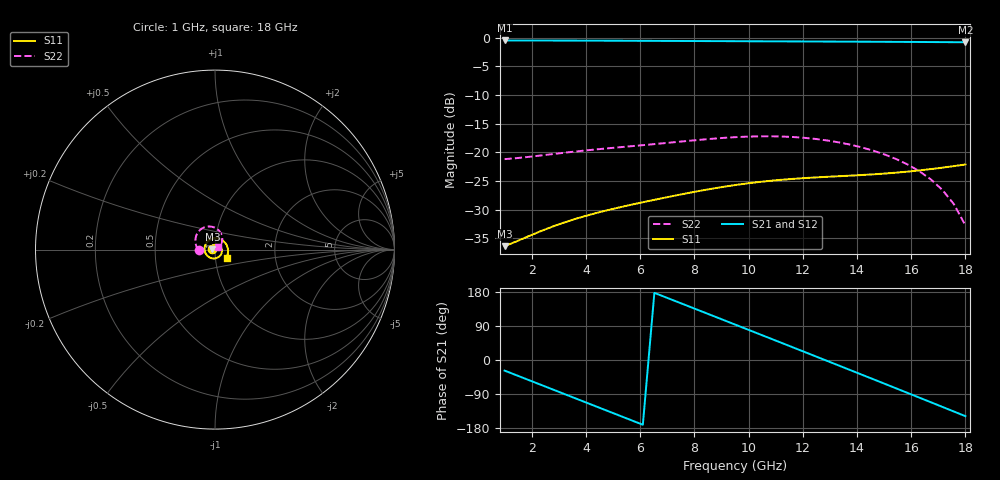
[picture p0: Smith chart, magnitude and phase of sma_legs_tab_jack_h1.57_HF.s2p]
! Generated by Hertzon (EMerge FEM)
# HZ S RI R 50.074
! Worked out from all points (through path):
!   41 points, 1 GHz to 18 GHz, reference 50.074 ohm
!   highest |S21| = -0.46 dB at 1 GHz (marker M1); lowest = -0.8 dB at 18 GHz (marker M2)
!   group delay of S21, straight-line fit = 78.4 ps
!   lowest |S11| = -36.4 dB at 1 GHz (marker M3), VSWR 1.03, Z = 48.6 + j0.264 ohm
!   |S11| at or under -10 dB: start of sweep to end of sweep
!   |S22| runs from -32.7 to -17.2 dB; largest |S21 - S12| = 0.00095
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1e9  -0.0149 0.00272  0.8377 -0.4453  0.8375 -0.4461  -0.0873 -0.000137
1.85e9  -0.0167 0.00772  0.5864 -0.745  0.5857 -0.7455  -0.0911 0.00158
2.7e9  -0.0153 0.016  0.2356 -0.9174  0.2347 -0.9176  -0.096 0.00564
3.125e9  -0.0125 0.0206  0.0413 -0.9457  0.0404 -0.9457  -0.0984 0.00858
3.975e9  -0.00171 0.0278  -0.3436 -0.8807  -0.3444 -0.8803  -0.1026 0.0159
4.825e9  0.0141 0.028  -0.6689 -0.6659  -0.6695 -0.6653  -0.1057 0.0248
5.675e9  0.0297 0.0183  -0.8795 -0.3383  -0.8798 -0.3377  -0.1077 0.0347
6.525e9  0.0385 -0.000589  -0.9396 0.0459  -0.9396 0.0466  -0.1088 0.0459
6.95e9  0.0386 -0.0119  -0.9091 0.2388  -0.9089 0.2395  -0.1089 0.0521
8.225e9  0.0191 -0.0421  -0.5961 0.7235  -0.5954 0.724  -0.1058 0.0736
9.5e9  -0.0198 -0.0479  -0.0592 0.933  -0.0583 0.933  -0.094 0.0978
1.0775e10  -0.052 -0.0216  0.4982 0.7879  0.4988 0.7875  -0.0703 0.1189
1.1625e10  -0.0583 0.00658  0.7742 0.5161  0.7745 0.5156  -0.0488 0.1272
1.2475e10  -0.0496 0.0345  0.9156 0.1555  0.9157 0.155  -0.0249 0.1286
1.29e10  -0.0403 0.046  0.927 -0.0389  0.927 -0.0395  -0.0129 0.1264
1.375e10  -0.0147 0.0609  0.8285 -0.4136  0.8283 -0.4141  0.00924 0.1164
1.46e10  0.0153 0.0624  0.5852 -0.7153  0.5848 -0.7157  0.0268 0.1
1.545e10  0.0437 0.0501  0.2393 -0.8906  0.2387 -0.8908  0.0377 0.0788
1.5875e10  0.0555 0.0392  0.0463 -0.92  0.0458 -0.92  0.0402 0.0671
1.6725e10  0.0708 0.00954  -0.3365 -0.855  -0.3368 -0.8548  0.0386 0.0434
1.7575e10  0.0712 -0.0263  -0.6582 -0.6373  -0.6584 -0.6371  0.0279 0.0216
1.8e10  0.0647 -0.0443  -0.7771 -0.4826  -0.7773 -0.4823  0.0193 0.0125
